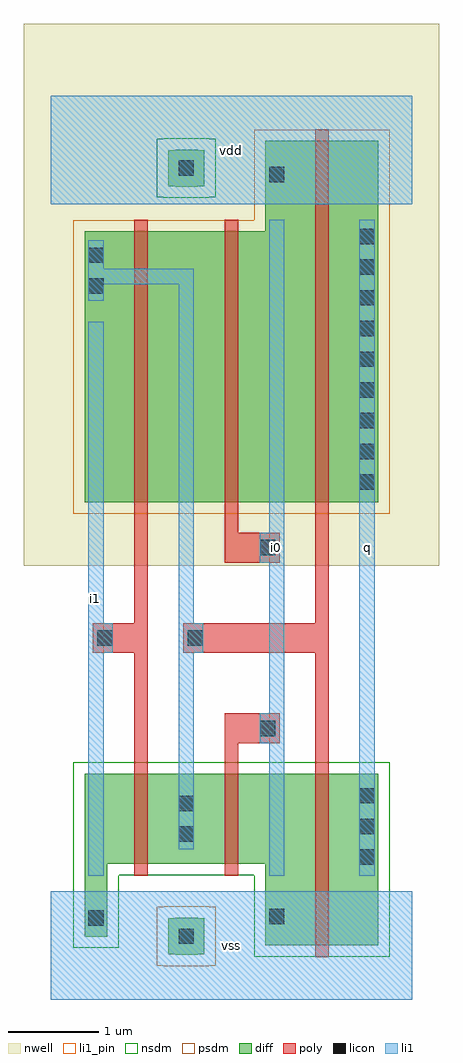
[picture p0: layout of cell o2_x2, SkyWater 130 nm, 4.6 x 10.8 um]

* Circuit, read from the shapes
.subckt o2_x2 i0 i1 q vdd vss
XM1 n1 i1 vss VSUBS sky130_fd_pr__nfet_01v8 w=1 l=0.15
XM2 vss i0 n1 VSUBS sky130_fd_pr__nfet_01v8 w=1 l=0.15
XM3 q n1 vss VSUBS sky130_fd_pr__nfet_01v8 w=1.9 l=0.15
XM4 n2 i1 n1 n3 sky130_fd_pr__pfet_01v8 w=3 l=0.15
XM5 vdd i0 n2 n3 sky130_fd_pr__pfet_01v8 w=3 l=0.15
XM6 q n1 vdd n3 sky130_fd_pr__pfet_01v8 w=4 l=0.15
.ends

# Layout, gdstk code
import gdstk
lib = gdstk.Library(unit=1e-6, precision=1e-09)
def R(c, l, rs):  # rectangles x0, y0, x1, y1
    for r in rs: c.add(gdstk.rectangle(r[:2], r[2:], *l))
def A(c, l, x, y, w, h, nx, ny, dx, dy):  # array of equal rectangles
    R(c, l, [(x+i*dx, y+j*dy, x+i*dx+w, y+j*dy+h) for i in range(nx) for j in range(ny)])
def P(c, l, *ps):  # polygons
    for p in ps: c.add(gdstk.Polygon(p, *l))
nwell = (64, 20)
diff = (65, 20)
poly = (66, 20)
licon = (66, 44)
li1_pin = (67, 16)
li1 = (67, 20)
nsdm = (93, 44)
psdm = (94, 20)

o2_x2 = lib.new_cell('o2_x2')
R(o2_x2, nwell, [(-0.3,4.8,4.3,10.8)])
P(o2_x2, diff, [(1.375,0.495),(1.375,0.5),(1.3,0.5),(1.3,0.9),(1.375,0.9),(1.375,0.905),(1.625,0.905),(1.625,0.9),(1.7,0.9),(1.7,0.5),(1.625,0.5),(1.625,0.495)],
  [(2.375,0.6),(2.375,1.5),(0.625,1.5),(0.625,0.695),(0.375,0.695),(0.375,2.5),(3.625,2.5),(3.625,0.6)],
  [(1.375,8.995),(1.375,9),(1.3,9),(1.3,9.4),(1.375,9.4),(1.375,9.405),(1.625,9.405),(1.625,9.4),(1.7,9.4),(1.7,9),(1.625,9),(1.625,8.995)],
  [(0.375,5.5),(0.375,8.5),(2.375,8.5),(2.375,9.5),(3.625,9.5),(3.625,5.5)])
P(o2_x2, poly, [(1.925,1.37),(1.925,3.165),(2.535,3.165),(2.535,2.835),(2.075,2.835),(2.075,1.37)],
  [(0.925,1.37),(0.925,3.835),(0.465,3.835),(0.465,4.165),(0.925,4.165),(0.925,8.63),(1.075,8.63),(1.075,1.37)],
  [(1.925,4.835),(1.925,8.63),(2.075,8.63),(2.075,5.165),(2.535,5.165),(2.535,4.835)],
  [(2.925,0.47),(2.925,3.835),(1.465,3.835),(1.465,4.165),(2.925,4.165),(2.925,9.63),(3.075,9.63),(3.075,0.47)])
A(o2_x2, licon, 3.415, 1.49, 0.17, 0.17, 1, 3, 0, 0.34)
A(o2_x2, licon, 3.415, 5.64, 0.17, 0.17, 1, 9, 0, 0.34)
R(o2_x2, licon, [(1.415,0.615,1.585,0.785), (0.415,0.815,0.585,0.985), (2.415,0.835,2.585,1.005), (1.415,1.745,1.585,1.915), (1.415,2.085,1.585,2.255), (2.315,2.915,2.485,3.085), (0.515,3.915,0.685,4.085), (1.515,3.915,1.685,4.085), (2.315,4.915,2.485,5.085), (0.415,7.81,0.585,7.98), (0.415,8.15,0.585,8.32), (2.415,9.045,2.585,9.215), (1.415,9.115,1.585,9.285)])
R(o2_x2, li1_pin, [(0,0,4,1.2), (0.415,1.37,0.585,7.5), (2.415,1.37,2.585,8.63), (3.415,1.37,3.585,8.63), (0,8.8,4,10)])
R(o2_x2, li1, [(0,0,4,1.2), (3.415,1.37,3.585,8.63), (0,8.8,4,10)])
P(o2_x2, li1, [(0.415,1.37),(0.415,7.5),(0.585,7.5),(0.585,4.165),(0.685,4.165),(0.685,3.835),(0.585,3.835),(0.585,1.37)],
  [(1.415,1.665),(1.415,7.915),(0.585,7.915),(0.585,7.73),(0.415,7.73),(0.415,8.4),(0.585,8.4),(0.585,8.085),(1.585,8.085),(1.585,4.165),(1.685,4.165),(1.685,3.835),(1.585,3.835),(1.585,1.665)],
  [(2.415,1.37),(2.415,2.835),(2.315,2.835),(2.315,3.165),(2.415,3.165),(2.415,4.835),(2.315,4.835),(2.315,5.165),(2.415,5.165),(2.415,8.63),(2.585,8.63),(2.585,1.37)])
P(o2_x2, nsdm, [(2.25,0.475),(2.25,1.375),(0.75,1.375),(0.75,0.57),(0.25,0.57),(0.25,2.625),(3.75,2.625),(3.75,0.475)],
  [(1.25,8.87),(1.25,8.875),(1.175,8.875),(1.175,9.525),(1.25,9.525),(1.25,9.53),(1.75,9.53),(1.75,9.525),(1.825,9.525),(1.825,8.875),(1.75,8.875),(1.75,8.87)])
P(o2_x2, psdm, [(1.25,0.37),(1.25,0.375),(1.175,0.375),(1.175,1.025),(1.25,1.025),(1.25,1.03),(1.75,1.03),(1.75,1.025),(1.825,1.025),(1.825,0.375),(1.75,0.375),(1.75,0.37)],
  [(0.25,5.375),(0.25,8.625),(2.25,8.625),(2.25,9.625),(3.75,9.625),(3.75,5.375)])
o2_x2.add(gdstk.Label('vdd', (2,9.4), layer=67, texttype=16))
o2_x2.add(gdstk.Label('q', (3.5,5), layer=67, texttype=16))
o2_x2.add(gdstk.Label('vss', (2,0.6), layer=67, texttype=16))
o2_x2.add(gdstk.Label('i0', (2.5,5), layer=67, texttype=16))
o2_x2.add(gdstk.Label('i1', (0.5,4.435), layer=67, texttype=16))
o2_x2.add(gdstk.Label('vdd', (2,9.4), layer=67, texttype=16))
o2_x2.add(gdstk.Label('q', (3.5,5), layer=67, texttype=16))
o2_x2.add(gdstk.Label('vss', (2,0.6), layer=67, texttype=16))
o2_x2.add(gdstk.Label('i0', (2.5,5), layer=67, texttype=16))
o2_x2.add(gdstk.Label('i1', (0.5,4.435), layer=67, texttype=16))

lib.write_gds('o2_x2.gds')
